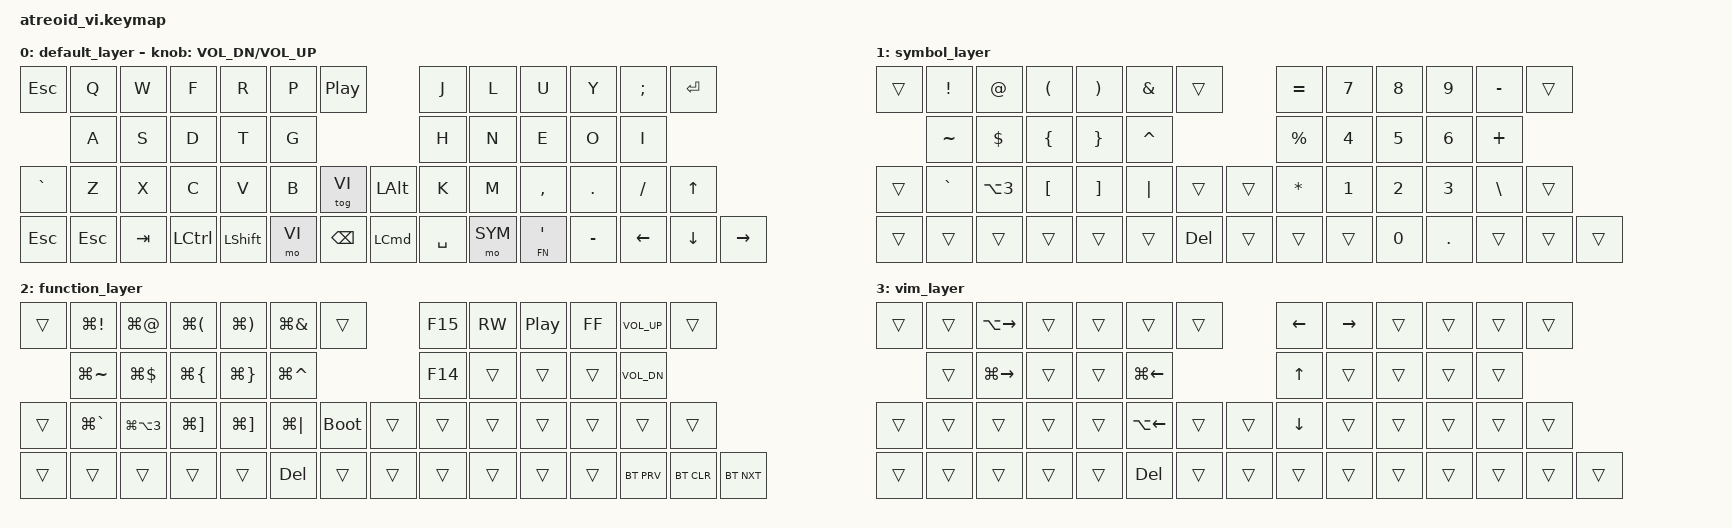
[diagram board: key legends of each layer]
#include <behaviors.dtsi>
#include <dt-bindings/zmk/keys.h>
#include <dt-bindings/zmk/bt.h>

#define TXT 0
#define SYM 1
#define FN  2
#define VI  3

/ {
  keymap {
    compatible = "zmk,keymap";

    default_layer {
      bindings = <
&kp ESC     &kp Q     &kp W     &kp F       &kp R       &kp P         &kp C_PLAY_PAUSE       &kp J       &kp L     &kp U       &kp Y       &kp SEMI    &kp RET
            &kp A     &kp S     &kp D       &kp T       &kp G                                &kp H       &kp N     &kp E       &kp O       &kp I
&kp GRAVE   &kp Z     &kp X     &kp C       &kp V       &kp B       &tog VI      &kp LALT    &kp K       &kp M     &kp COMMA   &kp DOT     &kp FSLH    &kp UP
&kp ESC     &kp ESC   &kp TAB   &kp LCTRL   &kp LSHIFT  &mo VI      &kp BSPC     &kp LCMD    &kp SPACE   &mo SYM   &lt FN SQT  &kp MINUS   &kp LEFT    &kp DOWN    &kp RIGHT
      >;

      sensor-bindings = <&inc_dec_kp C_VOL_DN C_VOL_UP>;
    };

    symbol_layer {
      bindings = <
&trans      &kp EXCL    &kp AT      &kp LPAR    &kp RPAR    &kp AMPS           &trans            &kp EQUAL   &kp N7      &kp N8      &kp N9      &kp MINUS   &trans
            &kp TILDE   &kp DOLLAR  &kp LBRC    &kp RBRC    &kp CARET                            &kp PRCNT   &kp N4      &kp N5      &kp N6      &kp PLUS
&trans      &kp GRAVE   &kp LA(N3)  &kp LBKT    &kp RBKT    &kp PIPE    &trans       &trans      &kp STAR    &kp N1      &kp N2      &kp N3      &kp BSLH    &trans
&trans      &trans      &trans      &trans      &trans      &trans      &kp DELETE   &trans      &trans      &trans      &kp N0      &kp DOT     &trans      &trans    &trans
      >;
    };

    function_layer {
      bindings = <
&trans  &kp LG(EXCL)   &kp LG(AT)      &kp LG(LPAR)  &kp LG(RPAR)  &kp LG(AMPS)        &trans         &kp F15  &kp C_RW  &kp C_PP  &kp C_FF  &kp C_VOL_UP  &trans
        &kp LG(TILDE)  &kp LG(DLLR)    &kp LG(LBRC)  &kp LG(RBRC)  &kp LG(CARET)                      &kp F14  &trans    &trans    &trans    &kp C_VOL_DN
&trans  &kp LG(GRAVE)  &kp LG(LA(N3))  &kp LG(RBKT)  &kp LG(RBKT)  &kp LG(PIPE)  &bootloader  &trans  &trans   &trans    &trans    &trans    &trans        &trans
&trans  &trans         &trans          &trans        &trans        &kp DELETE    &trans       &trans  &trans   &trans    &trans    &trans    &bt BT_PRV    &bt BT_CLR  &bt BT_NXT
      >;
    };

    vim_layer {
      bindings = <
&trans   &trans   &kp LA(RIGHT)   &trans   &trans   &trans               &trans         &kp LEFT   &kp RIGHT   &trans   &trans   &trans   &trans
         &trans   &kp LG(RIGHT)   &trans   &trans   &kp LG(LEFT)                        &kp UP     &trans      &trans   &trans   &trans
&trans   &trans   &trans          &trans   &trans   &kp LA(LEFT)   &trans      &trans   &kp DOWN   &trans      &trans   &trans   &trans   &trans
&trans   &trans   &trans          &trans   &trans   &kp DELETE     &trans      &trans   &trans     &trans      &trans   &trans   &trans   &trans   &trans
      >;
    };
  };
};
